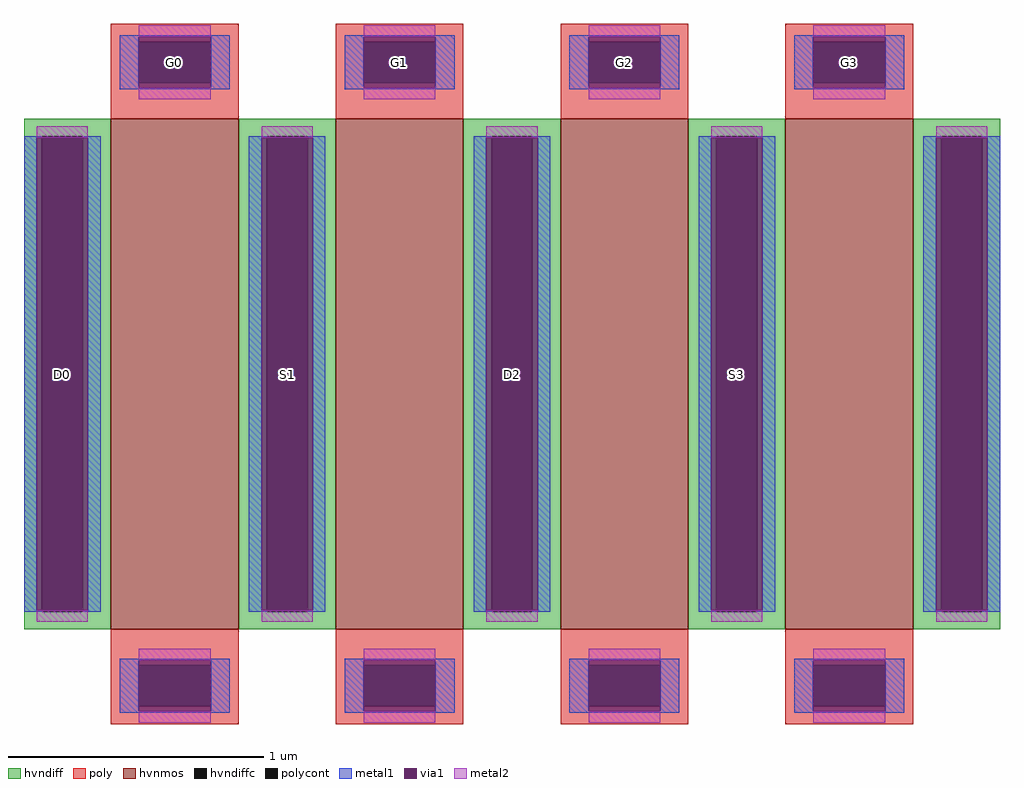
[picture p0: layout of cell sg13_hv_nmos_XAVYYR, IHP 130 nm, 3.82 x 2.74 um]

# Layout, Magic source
magic
tech ihp-sg13cmos5l
magscale 1 2
<< hvnmos >>
rect -314 -200 -214 200
rect -138 -200 -38 200
rect 38 -200 138 200
rect 214 -200 314 200
<< hvndiff >>
rect -382 186 -314 200
rect -382 -186 -368 186
rect -336 -186 -314 186
rect -382 -200 -314 -186
rect -214 186 -138 200
rect -214 -186 -192 186
rect -160 -186 -138 186
rect -214 -200 -138 -186
rect -38 186 38 200
rect -38 -186 -16 186
rect 16 -186 38 186
rect -38 -200 38 -186
rect 138 186 214 200
rect 138 -186 160 186
rect 192 -186 214 186
rect 138 -200 214 -186
rect 314 186 382 200
rect 314 -186 336 186
rect 368 -186 382 186
rect 314 -200 382 -186
<< hvndiffc >>
rect -368 -186 -336 186
rect -192 -186 -160 186
rect -16 -186 16 186
rect 160 -186 192 186
rect 336 -186 368 186
<< poly >>
rect -314 260 -214 274
rect -314 228 -292 260
rect -236 228 -214 260
rect -314 200 -214 228
rect -138 260 -38 274
rect -138 228 -116 260
rect -60 228 -38 260
rect -138 200 -38 228
rect 38 260 138 274
rect 38 228 60 260
rect 116 228 138 260
rect 38 200 138 228
rect 214 260 314 274
rect 214 228 236 260
rect 292 228 314 260
rect 214 200 314 228
rect -314 -228 -214 -200
rect -314 -260 -292 -228
rect -236 -260 -214 -228
rect -314 -274 -214 -260
rect -138 -228 -38 -200
rect -138 -260 -116 -228
rect -60 -260 -38 -228
rect -138 -274 -38 -260
rect 38 -228 138 -200
rect 38 -260 60 -228
rect 116 -260 138 -228
rect 38 -274 138 -260
rect 214 -228 314 -200
rect 214 -260 236 -228
rect 292 -260 314 -228
rect 214 -274 314 -260
<< polycont >>
rect -292 228 -236 260
rect -116 228 -60 260
rect 60 228 116 260
rect 236 228 292 260
rect -292 -260 -236 -228
rect -116 -260 -60 -228
rect 60 -260 116 -228
rect 236 -260 292 -228
<< metal1 >>
rect -307 264 -221 265
rect -307 224 -292 264
rect -236 224 -221 264
rect -307 223 -221 224
rect -131 264 -45 265
rect -131 224 -116 264
rect -60 224 -45 264
rect -131 223 -45 224
rect 45 264 131 265
rect 45 224 60 264
rect 116 224 131 264
rect 45 223 131 224
rect 221 264 307 265
rect 221 224 236 264
rect 292 224 307 264
rect 221 223 307 224
rect -382 185 -368 186
rect -336 185 -322 186
rect -382 -185 -372 185
rect -332 -185 -322 185
rect -382 -186 -368 -185
rect -336 -186 -322 -185
rect -206 185 -192 186
rect -160 185 -146 186
rect -206 -185 -196 185
rect -156 -185 -146 185
rect -206 -186 -192 -185
rect -160 -186 -146 -185
rect -30 185 -16 186
rect 16 185 30 186
rect -30 -185 -20 185
rect 20 -185 30 185
rect -30 -186 -16 -185
rect 16 -186 30 -185
rect 146 185 160 186
rect 192 185 206 186
rect 146 -185 156 185
rect 196 -185 206 185
rect 146 -186 160 -185
rect 192 -186 206 -185
rect 322 185 336 186
rect 368 185 382 186
rect 322 -185 332 185
rect 372 -185 382 185
rect 322 -186 336 -185
rect 368 -186 382 -185
rect -307 -224 -221 -223
rect -307 -264 -292 -224
rect -236 -264 -221 -224
rect -307 -265 -221 -264
rect -131 -224 -45 -223
rect -131 -264 -116 -224
rect -60 -264 -45 -224
rect -131 -265 -45 -264
rect 45 -224 131 -223
rect 45 -264 60 -224
rect 116 -264 131 -224
rect 45 -265 131 -264
rect 221 -224 307 -223
rect 221 -264 236 -224
rect 292 -264 307 -224
rect 221 -265 307 -264
<< via1 >>
rect -292 260 -236 264
rect -292 228 -236 260
rect -292 224 -236 228
rect -116 260 -60 264
rect -116 228 -60 260
rect -116 224 -60 228
rect 60 260 116 264
rect 60 228 116 260
rect 60 224 116 228
rect 236 260 292 264
rect 236 228 292 260
rect 236 224 292 228
rect -372 -185 -368 185
rect -368 -185 -336 185
rect -336 -185 -332 185
rect -196 -185 -192 185
rect -192 -185 -160 185
rect -160 -185 -156 185
rect -20 -185 -16 185
rect -16 -185 16 185
rect 16 -185 20 185
rect 156 -185 160 185
rect 160 -185 192 185
rect 192 -185 196 185
rect 332 -185 336 185
rect 336 -185 368 185
rect 368 -185 372 185
rect -292 -228 -236 -224
rect -292 -260 -236 -228
rect -292 -264 -236 -260
rect -116 -228 -60 -224
rect -116 -260 -60 -228
rect -116 -264 -60 -260
rect 60 -228 116 -224
rect 60 -260 116 -228
rect 60 -264 116 -260
rect 236 -228 292 -224
rect 236 -260 292 -228
rect 236 -264 292 -260
<< metal2 >>
rect -292 264 -236 273
rect -292 215 -236 224
rect -116 264 -60 273
rect -116 215 -60 224
rect 60 264 116 273
rect 60 215 116 224
rect 236 264 292 273
rect 236 215 292 224
rect -372 185 -332 194
rect -372 -194 -332 -185
rect -196 185 -156 194
rect -196 -194 -156 -185
rect -20 185 20 194
rect -20 -194 20 -185
rect 156 185 196 194
rect 156 -194 196 -185
rect 332 185 372 194
rect 332 -194 372 -185
rect -292 -224 -236 -215
rect -292 -273 -236 -264
rect -116 -224 -60 -215
rect -116 -273 -60 -264
rect 60 -224 116 -215
rect 60 -273 116 -264
rect 236 -224 292 -215
rect 236 -273 292 -264
<< labels >>
rlabel hvndiffc -352 0 -352 0 0 D0
port 1 nsew
rlabel polycont -264 244 -264 244 0 G0
port 2 nsew
rlabel hvndiffc -176 0 -176 0 0 S1
port 3 nsew
rlabel polycont -88 244 -88 244 0 G1
port 4 nsew
rlabel hvndiffc 0 0 0 0 0 D2
port 5 nsew
rlabel polycont 88 244 88 244 0 G2
port 6 nsew
rlabel hvndiffc 176 0 176 0 0 S3
port 7 nsew
rlabel polycont 264 244 264 244 0 G3
port 8 nsew
<< properties >>
string gencell sg13_hv_nmos
string library sg13cmos5l
string parameters w 2 l 0.5 m 1 nf 4 diffcov 100 polycov 100 guard 0 glc 1 grc 1 gtc 1 gbc 1 tbcov 100 rlcov 100 topc 1 botc 1 poverlap 0 doverlap 1 lmin 0.45 wmin 0.15 class mosfet compatible {sg13_lv_nmos sg13_hv_nmos} full_metal 1 conn_gates 0 gate_ring 0 doports 1 viasrc 100 viadrn 100 viagate 100 ccols 1 viagb 0 viagr 0 viagl 0 viagt 0
<< end >>
